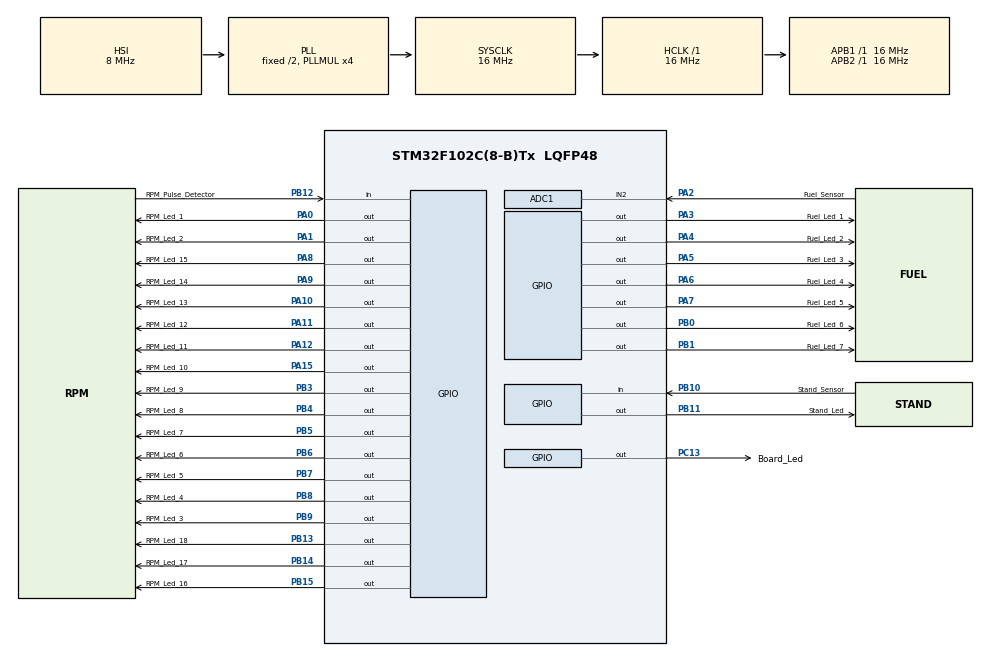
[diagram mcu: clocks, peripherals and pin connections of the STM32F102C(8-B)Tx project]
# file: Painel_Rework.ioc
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ADC1.Channel-0\#ChannelRegularConversion=ADC_CHANNEL_2
ADC1.NbrOfConversion=1
ADC1.NbrOfConversionFlag=1
ADC1.Rank-0\#ChannelRegularConversion=1
ADC1.SamplingTime-0\#ChannelRegularConversion=ADC_SAMPLETIME_1CYCLE_5
ADC1.master=1
Mcu.Family=STM32F1
Mcu.Name=STM32F102C(8-B)Tx
Mcu.Package=LQFP48
NVIC.PriorityGroup=NVIC_PRIORITYGROUP_4
PA0-WKUP.GPIO_Label=RPM_Led_1
PA0-WKUP.Signal=GPIO_Output
PA1.GPIO_Label=RPM_Led_2
PA1.Signal=GPIO_Output
PA10.GPIO_Label=RPM_Led_13
PA10.Signal=GPIO_Output
PA11.GPIO_Label=RPM_Led_12
PA11.Signal=GPIO_Output
PA12.GPIO_Label=RPM_Led_11
PA12.Signal=GPIO_Output
PA15.GPIO_Label=RPM_Led_10
PA15.Signal=GPIO_Output
PA2.GPIO_Label=Fuel_Sensor
PA2.Signal=ADCx_IN2
PA3.GPIO_Label=Fuel_Led_1
PA3.Signal=GPIO_Output
PA4.GPIO_Label=Fuel_Led_2
PA4.Signal=GPIO_Output
PA5.GPIO_Label=Fuel_Led_3
PA5.Signal=GPIO_Output
PA6.GPIO_Label=Fuel_Led_4
PA6.Signal=GPIO_Output
PA7.GPIO_Label=Fuel_Led_5
PA7.Signal=GPIO_Output
PA8.GPIO_Label=RPM_Led_15
PA8.Signal=GPIO_Output
PA9.GPIO_Label=RPM_Led_14
PA9.Signal=GPIO_Output
PB0.GPIO_Label=Fuel_Led_6
PB0.Signal=GPIO_Output
PB1.GPIO_Label=Fuel_Led_7
PB1.Signal=GPIO_Output
PB10.GPIO_Label=Stand_Sensor
PB10.GPIO_PuPd=GPIO_PULLDOWN
PB10.Signal=GPIO_Input
PB11.GPIO_Label=Stand_Led
PB11.Signal=GPIO_Output
PB12.GPIO_Label=RPM_Pulse_Detector
PB12.GPIO_PuPd=GPIO_PULLDOWN
PB12.Signal=GPIO_Input
PB13.GPIO_Label=RPM_Led_18
PB13.Signal=GPIO_Output
PB14.GPIO_Label=RPM_Led_17
PB14.Signal=GPIO_Output
PB15.GPIO_Label=RPM_Led_16
PB15.Signal=GPIO_Output
PB3.GPIO_Label=RPM_Led_9
PB3.Signal=GPIO_Output
PB4.GPIO_Label=RPM_Led_8
PB4.Signal=GPIO_Output
PB5.GPIO_Label=RPM_Led_7
PB5.Signal=GPIO_Output
PB6.GPIO_Label=RPM_Led_6
PB6.Signal=GPIO_Output
PB7.GPIO_Label=RPM_Led_5
PB7.Signal=GPIO_Output
PB8.GPIO_Label=RPM_Led_4
PB8.Signal=GPIO_Output
PB9.GPIO_Label=RPM_Led_3
PB9.Signal=GPIO_Output
PC13-TAMPER-RTC.GPIO_Label=Board_Led
PC13-TAMPER-RTC.Signal=GPIO_Output
PD0-OSC_IN.Mode=HSE-External-Oscillator
PD0-OSC_IN.Signal=RCC_OSC_IN
PD1-OSC_OUT.Mode=HSE-External-Oscillator
PD1-OSC_OUT.Signal=RCC_OSC_OUT
ProjectManager.HeapSize=0x200
ProjectManager.StackSize=0x400
ProjectManager.TargetToolchain=STM32CubeIDE
RCC.AHBFreq_Value=16000000
RCC.APB1Freq_Value=16000000
RCC.APB1TimFreq_Value=16000000
RCC.APB2Freq_Value=16000000
RCC.HCLKFreq_Value=16000000
RCC.PLLMUL=RCC_PLL_MUL4
RCC.SYSCLKFreq_VALUE=16000000
RCC.SYSCLKSource=RCC_SYSCLKSOURCE_PLLCLK
RCC.USBFreq_Value=16000000
SH.ADCx_IN2.0=ADC1_IN2,IN2
VP_SYS_VS_ND.Mode=No_Debug
board=custom

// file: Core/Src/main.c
/* USER CODE BEGIN Header */
/**
  ******************************************************************************
  * @file           : main.c
  * @brief          : Main program body
  ******************************************************************************
  * @attention
  *
  * <h2><center>&copy; Copyright (c) 2023 STMicroelectronics.
  * All rights reserved.</center></h2>
  *
  * This software component is licensed by ST under BSD 3-Clause license,
  * the "License"; You may not use this file except in compliance with the
  * License. You may obtain a copy of the License at:
  *                        opensource.org/licenses/BSD-3-Clause
  *
  ******************************************************************************
  */
/* USER CODE END Header */
#include "main.h"

ADC_HandleTypeDef hadc1;

/* USER CODE BEGIN PV */
uint8_t flagDetectPulso = 1;
uint8_t flagDetectPulsoAux;
const uint8_t rpmLedCount = 18;
const uint8_t fuelLedCount = 7;
uint8_t rpmReadingsCounter = 0;
uint8_t standSensorDebounceCounter = 0;

uint16_t fuelReading;
const uint16_t maxRPM = 10000;
uint16_t rpmLedPins[] = {
		RPM_Led_1_Pin,
		RPM_Led_2_Pin,
		RPM_Led_3_Pin,
		RPM_Led_4_Pin,
		RPM_Led_5_Pin,
		RPM_Led_6_Pin,
		RPM_Led_7_Pin,
		RPM_Led_8_Pin,
		RPM_Led_9_Pin,
		RPM_Led_10_Pin,
		RPM_Led_11_Pin,
		RPM_Led_12_Pin,
		RPM_Led_13_Pin,
		RPM_Led_14_Pin,
		RPM_Led_15_Pin,
		RPM_Led_16_Pin,
		RPM_Led_17_Pin,
		RPM_Led_18_Pin
};
uint16_t fuelLedPins[] = {
		Fuel_Led_1_Pin,
		Fuel_Led_2_Pin,
		Fuel_Led_3_Pin,
		Fuel_Led_4_Pin,
		Fuel_Led_5_Pin,
		Fuel_Led_6_Pin,
		Fuel_Led_7_Pin
};

uint32_t intervaloPulso = 1;
uint32_t valorRPM;
uint32_t oldRPM1;
uint32_t oldRPM2;
uint32_t oldRPM3;
uint32_t oldRPM4;
uint32_t oldRPM5;
const uint32_t timerFrequency = 16000000;
const uint32_t rpmLedPorts[] = {
		RPM_Led_1_GPIO_Port,
		RPM_Led_2_GPIO_Port,
		RPM_Led_3_GPIO_Port,
		RPM_Led_4_GPIO_Port,
		RPM_Led_5_GPIO_Port,
		RPM_Led_6_GPIO_Port,
		RPM_Led_7_GPIO_Port,
		RPM_Led_8_GPIO_Port,
		RPM_Led_9_GPIO_Port,
		RPM_Led_10_GPIO_Port,
		RPM_Led_11_GPIO_Port,
		RPM_Led_12_GPIO_Port,
		RPM_Led_13_GPIO_Port,
		RPM_Led_14_GPIO_Port,
		RPM_Led_15_GPIO_Port,
		RPM_Led_16_GPIO_Port,
		RPM_Led_17_GPIO_Port,
		RPM_Led_18_GPIO_Port
};
const uint32_t fuelLedPorts[] = {
		Fuel_Led_1_GPIO_Port,
		Fuel_Led_2_GPIO_Port,
		Fuel_Led_3_GPIO_Port,
		Fuel_Led_4_GPIO_Port,
		Fuel_Led_5_GPIO_Port,
		Fuel_Led_6_GPIO_Port,
		Fuel_Led_7_GPIO_Port
};

const int minFuelReading = 3000;
const int maxFuelReading = 455;
/* USER CODE END PV */

void SystemClock_Config(void);
static void MX_GPIO_Init(void);
static void MX_ADC1_Init(void);
/* USER CODE BEGIN PFP */
int map(int x, int in_min, int in_max, int out_min, int out_max);
void initialize(void);
/* USER CODE END PFP */

int main(void)
{

  /* MCU Configuration--------------------------------------------------------*/

  /* Reset of all peripherals, Initializes the Flash interface and the Systick. */
  HAL_Init();

  /* Configure the system clock */
  SystemClock_Config();

  /* Initialize all configured peripherals */
  MX_GPIO_Init();
  MX_ADC1_Init();
  /* USER CODE BEGIN 2 */
  initialize();
  /* USER CODE END 2 */

  /* Infinite loop */
  while (1)
  {

    /* USER CODE BEGIN 3 */

	/* ROTINA MEDIDOR COMBUSTIVEL */
	// Realiza leitura
	HAL_ADC_Start(&hadc1);
	HAL_ADC_PollForConversion(&hadc1, 100);
	fuelReading = (uint16_t)HAL_ADC_GetValue(&hadc1);
	HAL_ADC_Stop(&hadc1);

	// Conversao do valor lido para quantidade de LEDs
	int cursorCombustivel = map(fuelReading, minFuelReading, maxFuelReading, 1, fuelLedCount);

	// Acende LEDs
	for(uint8_t j = 0; j < fuelLedCount; j++)
	{
		if(j < cursorCombustivel)
		{
			HAL_GPIO_WritePin((uint32_t)fuelLedPorts[j], (uint16_t)fuelLedPins[j], GPIO_PIN_SET);
		}
		else
		{
			HAL_GPIO_WritePin((uint32_t)fuelLedPorts[j], (uint16_t)fuelLedPins[j], GPIO_PIN_RESET);
		}
	}

	/* ------------------------------------------------------------------------------------------------ */

	/* ROTINA MARCADOR RPM */
	// Salva leitura de pulso anterior
	flagDetectPulsoAux = flagDetectPulso;

	// Le sinal no pino, se houve ou nao pulso
	if(GPIO_PIN_SET == HAL_GPIO_ReadPin(RPM_Pulse_Detector_GPIO_Port, RPM_Pulse_Detector_Pin))
	{
		flagDetectPulso = 1;
	}
	else
	{
		flagDetectPulso = 0;
	}

	// Caso houve pulso, realiza calculo do RPM
	if(1 == flagDetectPulso && 0 == flagDetectPulsoAux)
	{
//		oldRPM5 = oldRPM4;
//		oldRPM4 = oldRPM3;
//		oldRPM3 = oldRPM2;
//		oldRPM2 = oldRPM1;
//		oldRPM1 = (16000 / intervaloPulso) * 20; //* 60 * 2;
//
//		valorRPM = (oldRPM1 + oldRPM2 + oldRPM3 + oldRPM4 + oldRPM5) / 5;

		valorRPM = (16000 / intervaloPulso) * 24;

		intervaloPulso = 1;

		if(valorRPM < 700) valorRPM = 700;

		HAL_GPIO_TogglePin(Board_Led_GPIO_Port, Board_Led_Pin);
	}

	// Verificacao de seguranca
	if(intervaloPulso > timerFrequency)
	{
		intervaloPulso = 1;
	}

	// Incrementa contagem entre pulsos
	intervaloPulso++;

	// Conversao do valor calculado para quantidade de LEDs
	int cursorRPM = map(valorRPM, 0, maxRPM, 0, rpmLedCount);

	// Acende LEDs
	for(uint8_t j = 0; j < rpmLedCount; j++)
	{
		if(j < cursorRPM)
		{
			HAL_GPIO_WritePin((uint32_t)rpmLedPorts[j], (uint16_t)rpmLedPins[j], GPIO_PIN_SET);
		}
		else
		{
			HAL_GPIO_WritePin((uint32_t)rpmLedPorts[j], (uint16_t)rpmLedPins[j], GPIO_PIN_RESET);
		}
	}

	/* ------------------------------------------------------------------------------------------------ */

	/* ROTINA SENSOR PEZINHO */
	if(GPIO_PIN_SET == HAL_GPIO_ReadPin(Stand_Sensor_GPIO_Port, Stand_Sensor_Pin))
	{
	  standSensorDebounceCounter++;
	}
	else
	{
	  standSensorDebounceCounter = 0;
	}

	if(standSensorDebounceCounter >= 15)
	{
	  HAL_GPIO_WritePin(Stand_Led_GPIO_Port, Stand_Led_Pin, GPIO_PIN_SET);
	  standSensorDebounceCounter = 15;
	}
	else
	{
	  HAL_GPIO_WritePin(Stand_Led_GPIO_Port, Stand_Led_Pin, GPIO_PIN_RESET);
	}

	/* ------------------------------------------------------------------------------------------------ */
  }

  /* USER CODE END 3 */
}

void SystemClock_Config(void)
{
  RCC_OscInitTypeDef RCC_OscInitStruct = {0};
  RCC_ClkInitTypeDef RCC_ClkInitStruct = {0};
  RCC_PeriphCLKInitTypeDef PeriphClkInit = {0};

  /** Initializes the RCC Oscillators according to the specified parameters
  * in the RCC_OscInitTypeDef structure.
  */
  RCC_OscInitStruct.OscillatorType = RCC_OSCILLATORTYPE_HSI;
  RCC_OscInitStruct.HSIState = RCC_HSI_ON;
  RCC_OscInitStruct.HSICalibrationValue = RCC_HSICALIBRATION_DEFAULT;
  RCC_OscInitStruct.PLL.PLLState = RCC_PLL_ON;
  RCC_OscInitStruct.PLL.PLLSource = RCC_PLLSOURCE_HSI_DIV2;
  RCC_OscInitStruct.PLL.PLLMUL = RCC_PLL_MUL4;
  if (HAL_RCC_OscConfig(&RCC_OscInitStruct) != HAL_OK)
  {
    Error_Handler();
  }
  /** Initializes the CPU, AHB and APB buses clocks
  */
  RCC_ClkInitStruct.ClockType = RCC_CLOCKTYPE_HCLK|RCC_CLOCKTYPE_SYSCLK
                              |RCC_CLOCKTYPE_PCLK1|RCC_CLOCKTYPE_PCLK2;
  RCC_ClkInitStruct.SYSCLKSource = RCC_SYSCLKSOURCE_PLLCLK;
  RCC_ClkInitStruct.AHBCLKDivider = RCC_SYSCLK_DIV1;
  RCC_ClkInitStruct.APB1CLKDivider = RCC_HCLK_DIV1;
  RCC_ClkInitStruct.APB2CLKDivider = RCC_HCLK_DIV1;

  if (HAL_RCC_ClockConfig(&RCC_ClkInitStruct, FLASH_LATENCY_0) != HAL_OK)
  {
    Error_Handler();
  }
  PeriphClkInit.PeriphClockSelection = RCC_PERIPHCLK_ADC;
  PeriphClkInit.AdcClockSelection = RCC_ADCPCLK2_DIV2;
  if (HAL_RCCEx_PeriphCLKConfig(&PeriphClkInit) != HAL_OK)
  {
    Error_Handler();
  }
}

static void MX_ADC1_Init(void)
{

  ADC_ChannelConfTypeDef sConfig = {0};

  /** Common config
  */
  hadc1.Instance = ADC1;
  hadc1.Init.ScanConvMode = ADC_SCAN_DISABLE;
  hadc1.Init.ContinuousConvMode = DISABLE;
  hadc1.Init.DiscontinuousConvMode = DISABLE;
  hadc1.Init.ExternalTrigConv = ADC_SOFTWARE_START;
  hadc1.Init.DataAlign = ADC_DATAALIGN_RIGHT;
  hadc1.Init.NbrOfConversion = 1;
  if (HAL_ADC_Init(&hadc1) != HAL_OK)
  {
    Error_Handler();
  }
  /** Configure Regular Channel
  */
  sConfig.Channel = ADC_CHANNEL_2;
  sConfig.Rank = ADC_REGULAR_RANK_1;
  sConfig.SamplingTime = ADC_SAMPLETIME_1CYCLE_5;
  if (HAL_ADC_ConfigChannel(&hadc1, &sConfig) != HAL_OK)
  {
    Error_Handler();
  }

}

static void MX_GPIO_Init(void)
{
  GPIO_InitTypeDef GPIO_InitStruct = {0};

  /* GPIO Ports Clock Enable */
  __HAL_RCC_GPIOC_CLK_ENABLE();
  __HAL_RCC_GPIOD_CLK_ENABLE();
  __HAL_RCC_GPIOA_CLK_ENABLE();
  __HAL_RCC_GPIOB_CLK_ENABLE();

  /*Configure GPIO pin Output Level */
  HAL_GPIO_WritePin(Board_Led_GPIO_Port, Board_Led_Pin, GPIO_PIN_RESET);

  /*Configure GPIO pin Output Level */
  HAL_GPIO_WritePin(GPIOA, RPM_Led_1_Pin|RPM_Led_2_Pin|Fuel_Led_1_Pin|Fuel_Led_2_Pin
                          |Fuel_Led_3_Pin|Fuel_Led_4_Pin|Fuel_Led_5_Pin|RPM_Led_15_Pin
                          |RPM_Led_14_Pin|RPM_Led_13_Pin|RPM_Led_12_Pin|RPM_Led_11_Pin
                          |RPM_Led_10_Pin, GPIO_PIN_RESET);

  /*Configure GPIO pin Output Level */
  HAL_GPIO_WritePin(GPIOB, Fuel_Led_6_Pin|Fuel_Led_7_Pin|Stand_Led_Pin|RPM_Led_18_Pin
                          |RPM_Led_17_Pin|RPM_Led_16_Pin|RPM_Led_9_Pin|RPM_Led_8_Pin
                          |RPM_Led_7_Pin|RPM_Led_6_Pin|RPM_Led_5_Pin|RPM_Led_4_Pin
                          |RPM_Led_3_Pin, GPIO_PIN_RESET);

  /*Configure GPIO pin : Board_Led_Pin */
  GPIO_InitStruct.Pin = Board_Led_Pin;
  GPIO_InitStruct.Mode = GPIO_MODE_OUTPUT_PP;
  GPIO_InitStruct.Pull = GPIO_NOPULL;
  GPIO_InitStruct.Speed = GPIO_SPEED_FREQ_LOW;
  HAL_GPIO_Init(Board_Led_GPIO_Port, &GPIO_InitStruct);

  /*Configure GPIO pins : RPM_Led_1_Pin RPM_Led_2_Pin Fuel_Led_1_Pin Fuel_Led_2_Pin
                           Fuel_Led_3_Pin Fuel_Led_4_Pin Fuel_Led_5_Pin RPM_Led_15_Pin
                           RPM_Led_14_Pin RPM_Led_13_Pin RPM_Led_12_Pin RPM_Led_11_Pin
                           RPM_Led_10_Pin */
  GPIO_InitStruct.Pin = RPM_Led_1_Pin|RPM_Led_2_Pin|Fuel_Led_1_Pin|Fuel_Led_2_Pin
                          |Fuel_Led_3_Pin|Fuel_Led_4_Pin|Fuel_Led_5_Pin|RPM_Led_15_Pin
                          |RPM_Led_14_Pin|RPM_Led_13_Pin|RPM_Led_12_Pin|RPM_Led_11_Pin
                          |RPM_Led_10_Pin;
  GPIO_InitStruct.Mode = GPIO_MODE_OUTPUT_PP;
  GPIO_InitStruct.Pull = GPIO_NOPULL;
  GPIO_InitStruct.Speed = GPIO_SPEED_FREQ_LOW;
  HAL_GPIO_Init(GPIOA, &GPIO_InitStruct);

  /*Configure GPIO pins : Fuel_Led_6_Pin Fuel_Led_7_Pin Stand_Led_Pin RPM_Led_18_Pin
                           RPM_Led_17_Pin RPM_Led_16_Pin RPM_Led_9_Pin RPM_Led_8_Pin
                           RPM_Led_7_Pin RPM_Led_6_Pin RPM_Led_5_Pin RPM_Led_4_Pin
                           RPM_Led_3_Pin */
  GPIO_InitStruct.Pin = Fuel_Led_6_Pin|Fuel_Led_7_Pin|Stand_Led_Pin|RPM_Led_18_Pin
                          |RPM_Led_17_Pin|RPM_Led_16_Pin|RPM_Led_9_Pin|RPM_Led_8_Pin
                          |RPM_Led_7_Pin|RPM_Led_6_Pin|RPM_Led_5_Pin|RPM_Led_4_Pin
                          |RPM_Led_3_Pin;
  GPIO_InitStruct.Mode = GPIO_MODE_OUTPUT_PP;
  GPIO_InitStruct.Pull = GPIO_NOPULL;
  GPIO_InitStruct.Speed = GPIO_SPEED_FREQ_LOW;
  HAL_GPIO_Init(GPIOB, &GPIO_InitStruct);

  /*Configure GPIO pins : Stand_Sensor_Pin RPM_Pulse_Detector_Pin */
  GPIO_InitStruct.Pin = Stand_Sensor_Pin|RPM_Pulse_Detector_Pin;
  GPIO_InitStruct.Mode = GPIO_MODE_INPUT;
  GPIO_InitStruct.Pull = GPIO_PULLDOWN;
  HAL_GPIO_Init(GPIOB, &GPIO_InitStruct);

}

/* USER CODE BEGIN 4 */
int map(int x, int in_min, int in_max, int out_min, int out_max)
{
  int result = (x - in_min) * (out_max - out_min) / (in_max - in_min) + out_min;

  if(result < out_min) return out_min;
  if(result > out_max) return out_max;
  return result;
}

void initialize(void)
{
	  HAL_GPIO_WritePin(Board_Led_GPIO_Port, Board_Led_Pin, GPIO_PIN_SET);
	  HAL_GPIO_WritePin(Stand_Led_GPIO_Port, Stand_Led_Pin, GPIO_PIN_SET);

	  uint8_t rpmIndex = 0;
	  uint8_t fuelIndex = 0;

	  for(rpmIndex; rpmIndex < rpmLedCount; rpmIndex++)
	  {
		  HAL_GPIO_WritePin((uint32_t)rpmLedPorts[rpmIndex], (uint16_t)rpmLedPins[rpmIndex], GPIO_PIN_SET);

		  fuelIndex = map(rpmIndex, 0, rpmLedCount - 1, 0, fuelLedCount - 1);

		  HAL_GPIO_WritePin((uint32_t)fuelLedPorts[fuelIndex], (uint16_t)fuelLedPins[fuelIndex], GPIO_PIN_SET);

		  HAL_Delay(50);
	  }

	  for(rpmIndex = rpmLedCount - 1; rpmIndex > 0; rpmIndex--)
	  {
		  HAL_GPIO_WritePin((uint32_t)rpmLedPorts[rpmIndex], (uint16_t)rpmLedPins[rpmIndex], GPIO_PIN_RESET);

		  fuelIndex = map(rpmIndex, 0, rpmLedCount - 1, 0, fuelLedCount - 1);

		  HAL_GPIO_WritePin((uint32_t)fuelLedPorts[fuelIndex], (uint16_t)fuelLedPins[fuelIndex], GPIO_PIN_RESET);

		  HAL_Delay(50);
	  }

	  HAL_GPIO_WritePin(Board_Led_GPIO_Port, Board_Led_Pin, GPIO_PIN_RESET);
	  HAL_GPIO_WritePin(Stand_Led_GPIO_Port, Stand_Led_Pin, GPIO_PIN_RESET);

}

/*===============================================*/
/*============= TEMPORIZADORES ==================*/
/*===============================================*/
//void HAL_TIM_PeriodElapsedCallback(TIM_HandleTypeDef *htim)
//{
//	if(htim->Instance == TIM2) //FREQ=10KHz
//	{
//		flagDetectPulsoAux = flagDetectPulso;
//
//		if(GPIO_PIN_SET == HAL_GPIO_ReadPin(Detector_Pulso_GPIO_Port, Detector_Pulso_Pin))
//		{
//			flagDetectPulso = 1;
//		}
//		else
//		{
//			flagDetectPulso = 0;
//		}
//
//		if(1 == flagDetectPulso && 0 == flagDetectPulsoAux)
//		{
//			valorRPM = (((timerFrequency / intervaloPulso) * 60) * 2);
//			intervaloPulso = 0;
//		}
//
//		if(intervaloPulso > timerFrequency)
//		{
//			intervaloPulso = 1;
//		}
//
//		intervaloPulso++;
//	}
//}
/* USER CODE END 4 */

void Error_Handler(void)
{
  /* USER CODE BEGIN Error_Handler_Debug */
  /* User can add his own implementation to report the HAL error return state */
  __disable_irq();
  while (1)
  {
	  HAL_Delay(1000);
	  HAL_GPIO_TogglePin((uint32_t)rpmLedPorts[0], (uint16_t)rpmLedPins[0]);
  }
  /* USER CODE END Error_Handler_Debug */
}

/************************ (C) COPYRIGHT STMicroelectronics *****END OF FILE****/
